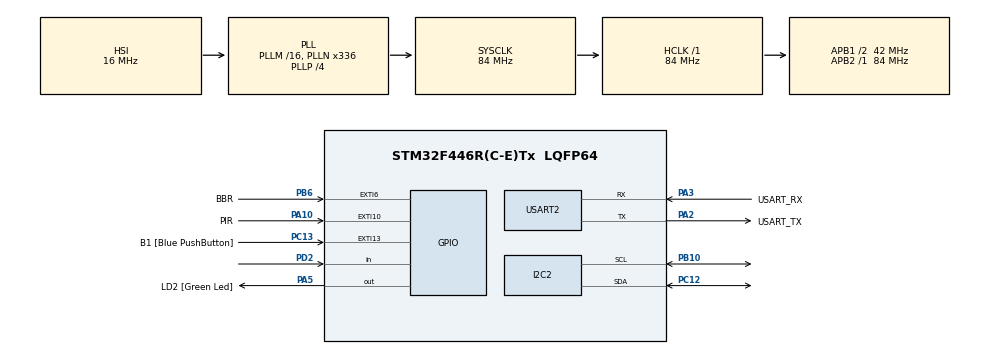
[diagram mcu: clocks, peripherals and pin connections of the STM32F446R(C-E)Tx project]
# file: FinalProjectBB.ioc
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FREERTOS.Tasks01=defaultTask,0,128,StartDefaultTask,Default,NULL,Dynamic,NULL,NULL
I2C2.I2C_Mode=I2C_Fast
Mcu.Family=STM32F4
Mcu.Name=STM32F446R(C-E)Tx
Mcu.Package=LQFP64
NVIC.EXTI15_10_IRQn=true\:5\:0\:false\:false\:true\:true\:true\:true\:true
NVIC.EXTI9_5_IRQn=true\:0\:0\:false\:false\:true\:false\:true\:true\:true
NVIC.PriorityGroup=NVIC_PRIORITYGROUP_4
NVIC.TIM6_DAC_IRQn=true\:15\:0\:false\:false\:true\:false\:false\:true\:true
NVIC.TimeBase=TIM6_DAC_IRQn
NVIC.TimeBaseIP=TIM6
PA10.GPIO_Label=PIR
PA10.Signal=GPXTI10
PA13.GPIO_Label=TMS
PA13.Mode=Serial_Wire
PA13.Signal=SYS_JTMS-SWDIO
PA14.GPIO_Label=TCK
PA14.Mode=Serial_Wire
PA14.Signal=SYS_JTCK-SWCLK
PA2.GPIO_Label=USART_TX
PA2.Mode=Asynchronous
PA2.Signal=USART2_TX
PA3.GPIO_Label=USART_RX
PA3.Mode=Asynchronous
PA3.Signal=USART2_RX
PA5.GPIO_Label=LD2 [Green Led]
PA5.Signal=GPIO_Output
PB10.Mode=I2C
PB10.Signal=I2C2_SCL
PB3.GPIO_Label=SWO
PB3.Signal=SYS_JTDO-SWO
PB6.GPIO_Label=BBR
PB6.Signal=GPXTI6
PC12.Mode=I2C
PC12.Signal=I2C2_SDA
PC13.GPIO_Label=B1 [Blue PushButton]
PC13.GPIO_ModeDefaultEXTI=GPIO_MODE_IT_FALLING
PC13.Signal=GPXTI13
PC14-OSC32_IN.Mode=LSE-External-Oscillator
PC14-OSC32_IN.Signal=RCC_OSC32_IN
PC15-OSC32_OUT.Mode=LSE-External-Oscillator
PC15-OSC32_OUT.Signal=RCC_OSC32_OUT
PD2.Signal=GPIO_Input
PH0-OSC_IN.Mode=HSE-External-Oscillator
PH0-OSC_IN.Signal=RCC_OSC_IN
PH1-OSC_OUT.Mode=HSE-External-Oscillator
PH1-OSC_OUT.Signal=RCC_OSC_OUT
ProjectManager.HeapSize=0x200
ProjectManager.StackSize=0x400
ProjectManager.TargetToolchain=STM32CubeIDE
RCC.48MHZClocksFreq_Value=84000000
RCC.AHBFreq_Value=84000000
RCC.APB1CLKDivider=RCC_HCLK_DIV2
RCC.APB1Freq_Value=42000000
RCC.APB1TimFreq_Value=84000000
RCC.APB2Freq_Value=84000000
RCC.APB2TimFreq_Value=84000000
RCC.CortexFreq_Value=84000000
RCC.FLatency-AdvancedSettings=FLASH_LATENCY_2
RCC.HCLKFreq_Value=84000000
RCC.HSE_VALUE=8000000
RCC.HSI_VALUE=16000000
RCC.PLLN=336
RCC.PLLP=RCC_PLLP_DIV4
RCC.SYSCLKFreq_VALUE=84000000
RCC.SYSCLKSource=RCC_SYSCLKSOURCE_PLLCLK
RCC.USBFreq_Value=168000000
RCC.VCOOutputFreq_Value=336000000
USART2.VirtualMode=VM_ASYNC
VP_FREERTOS_VS_CMSIS_V1.Mode=CMSIS_V1
VP_SYS_VS_tim6.Mode=TIM6
board=NUCLEO-F446RE

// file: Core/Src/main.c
/* USER CODE BEGIN Header */
/**
  ******************************************************************************
  * @file           : main.c
  * @brief          : Main program body
  ******************************************************************************
  * @attention
  *
  * Copyright (c) 2026 STMicroelectronics.
  * All rights reserved.
  *
  * This software is licensed under terms that can be found in the LICENSE file
  * in the root directory of this software component.
  * If no LICENSE file comes with this software, it is provided AS-IS.
  *
  ******************************************************************************
  */
/* USER CODE END Header */
#include "main.h"

#include "cmsis_os.h"

#include "ssd1306.h"

#include "ssd1306_fonts.h"

#include "stdio.h" // for sprintf

#include "FREERTOS.h"

#include "task.h"

#include "timers.h"

#include "queue.h"

#include "semphr.h"

#include "event_groups.h"

#include "string.h"

/* USER CODE BEGIN PTD */
typedef struct {
    int eventType;
    uint32_t timestamp;
} EventNotice;

/* USER CODE END PTD */

I2C_HandleTypeDef hi2c2;

UART_HandleTypeDef huart2;

osThreadId defaultTaskHandle;
/* USER CODE BEGIN PV */
SemaphoreHandle_t breakbeamSemaphore = NULL;
SemaphoreHandle_t pirSemaphore = NULL;
/* USER CODE END PV */

void SystemClock_Config(void);
static void MX_GPIO_Init(void);
static void MX_I2C2_Init(void);
static void MX_USART2_UART_Init(void);
void oledRefresh_task(void * argument);
void PIRSensor_task(void * argument);
void BBRSensor_task(void * argument);

/* USER CODE BEGIN PFP */
xTaskHandle BB_handler;
xTaskHandle PIR_handler;
xTaskHandle oledRefresh_handler;

xQueueHandle ST_Queue_handler;
/* USER CODE END PFP */

int main(void)
{

  /* MCU Configuration--------------------------------------------------------*/

  /* Reset of all peripherals, Initializes the Flash interface and the Systick. */
  HAL_Init();

  /* Configure the system clock */
  SystemClock_Config();

  /* Initialize all configured peripherals */
  MX_GPIO_Init();
  MX_I2C2_Init();
  MX_USART2_UART_Init();
  ssd1306_Init();
  /* USER CODE BEGIN 2 */
  ST_Queue_handler = xQueueCreate(20, sizeof(EventNotice));
  if(ST_Queue_handler == 0){
	  char *str = "Error 1:Unable to create Queue\r\n\n";
	  HAL_UART_Transmit(&huart2, (uint8_t *)str, strlen(str), HAL_MAX_DELAY);
  }
  else{
	  char *str = "Queue Created Successfully\r\n\n";
	  HAL_UART_Transmit(&huart2, (uint8_t *)str, strlen(str), HAL_MAX_DELAY);
  }

  /* USER CODE END 2 */

  /* USER CODE BEGIN RTOS_SEMAPHORES */
  pirSemaphore = xSemaphoreCreateBinary();
  breakbeamSemaphore = xSemaphoreCreateBinary();
  /* USER CODE END RTOS_SEMAPHORES */

  /* Create the thread(s) */
  /* definition and creation of defaultTask */
  xTaskCreate(oledRefresh_task, "OLEDRefresh", 256, NULL, 3, &oledRefresh_handler);
  xTaskCreate(BBRSensor_task, "BBRSensor", 256, NULL, 2, &BB_handler);
  xTaskCreate(PIRSensor_task, "PIRSensor", 256, NULL, 2, &PIR_handler);

  /* Start scheduler */
  vTaskStartScheduler();

  /* We should never get here as control is now taken by the scheduler */

  /* Infinite loop */
  while (1)
  {

  }
}

void SystemClock_Config(void)
{
  RCC_OscInitTypeDef RCC_OscInitStruct = {0};
  RCC_ClkInitTypeDef RCC_ClkInitStruct = {0};

  /** Configure the main internal regulator output voltage
  */
  __HAL_RCC_PWR_CLK_ENABLE();
  __HAL_PWR_VOLTAGESCALING_CONFIG(PWR_REGULATOR_VOLTAGE_SCALE3);

  /** Initializes the RCC Oscillators according to the specified parameters
  * in the RCC_OscInitTypeDef structure.
  */
  RCC_OscInitStruct.OscillatorType = RCC_OSCILLATORTYPE_HSI;
  RCC_OscInitStruct.HSIState = RCC_HSI_ON;
  RCC_OscInitStruct.HSICalibrationValue = RCC_HSICALIBRATION_DEFAULT;
  RCC_OscInitStruct.PLL.PLLState = RCC_PLL_ON;
  RCC_OscInitStruct.PLL.PLLSource = RCC_PLLSOURCE_HSI;
  RCC_OscInitStruct.PLL.PLLM = 16;
  RCC_OscInitStruct.PLL.PLLN = 336;
  RCC_OscInitStruct.PLL.PLLP = RCC_PLLP_DIV4;
  RCC_OscInitStruct.PLL.PLLQ = 2;
  RCC_OscInitStruct.PLL.PLLR = 2;
  if (HAL_RCC_OscConfig(&RCC_OscInitStruct) != HAL_OK)
  {
    Error_Handler();
  }

  /** Initializes the CPU, AHB and APB buses clocks
  */
  RCC_ClkInitStruct.ClockType = RCC_CLOCKTYPE_HCLK|RCC_CLOCKTYPE_SYSCLK
                              |RCC_CLOCKTYPE_PCLK1|RCC_CLOCKTYPE_PCLK2;
  RCC_ClkInitStruct.SYSCLKSource = RCC_SYSCLKSOURCE_PLLCLK;
  RCC_ClkInitStruct.AHBCLKDivider = RCC_SYSCLK_DIV1;
  RCC_ClkInitStruct.APB1CLKDivider = RCC_HCLK_DIV2;
  RCC_ClkInitStruct.APB2CLKDivider = RCC_HCLK_DIV1;

  if (HAL_RCC_ClockConfig(&RCC_ClkInitStruct, FLASH_LATENCY_2) != HAL_OK)
  {
    Error_Handler();
  }
}

static void MX_I2C2_Init(void)
{

  hi2c2.Instance = I2C2;
  hi2c2.Init.ClockSpeed = 400000;
  hi2c2.Init.DutyCycle = I2C_DUTYCYCLE_2;
  hi2c2.Init.OwnAddress1 = 0;
  hi2c2.Init.AddressingMode = I2C_ADDRESSINGMODE_7BIT;
  hi2c2.Init.DualAddressMode = I2C_DUALADDRESS_DISABLE;
  hi2c2.Init.OwnAddress2 = 0;
  hi2c2.Init.GeneralCallMode = I2C_GENERALCALL_DISABLE;
  hi2c2.Init.NoStretchMode = I2C_NOSTRETCH_DISABLE;
  if (HAL_I2C_Init(&hi2c2) != HAL_OK)
  {
    Error_Handler();
  }

}

static void MX_USART2_UART_Init(void)
{

  huart2.Instance = USART2;
  huart2.Init.BaudRate = 115200;
  huart2.Init.WordLength = UART_WORDLENGTH_8B;
  huart2.Init.StopBits = UART_STOPBITS_1;
  huart2.Init.Parity = UART_PARITY_NONE;
  huart2.Init.Mode = UART_MODE_TX_RX;
  huart2.Init.HwFlowCtl = UART_HWCONTROL_NONE;
  huart2.Init.OverSampling = UART_OVERSAMPLING_16;
  if (HAL_UART_Init(&huart2) != HAL_OK)
  {
    Error_Handler();
  }

}

static void MX_GPIO_Init(void)
{
  GPIO_InitTypeDef GPIO_InitStruct = {0};

  /* GPIO Ports Clock Enable */
  __HAL_RCC_GPIOC_CLK_ENABLE();
  __HAL_RCC_GPIOH_CLK_ENABLE();
  __HAL_RCC_GPIOA_CLK_ENABLE();
  __HAL_RCC_GPIOB_CLK_ENABLE();
  __HAL_RCC_GPIOD_CLK_ENABLE();

  /*Configure GPIO pin Output Level */
  HAL_GPIO_WritePin(LD2_GPIO_Port, LD2_Pin, GPIO_PIN_RESET);

  /*Configure GPIO pin : B1_Pin */
  GPIO_InitStruct.Pin = B1_Pin;
  GPIO_InitStruct.Mode = GPIO_MODE_IT_FALLING;
  GPIO_InitStruct.Pull = GPIO_NOPULL;
  HAL_GPIO_Init(B1_GPIO_Port, &GPIO_InitStruct);

  /*Configure GPIO pin : LD2_Pin */
  GPIO_InitStruct.Pin = LD2_Pin;
  GPIO_InitStruct.Mode = GPIO_MODE_OUTPUT_PP;
  GPIO_InitStruct.Pull = GPIO_NOPULL;
  GPIO_InitStruct.Speed = GPIO_SPEED_FREQ_LOW;
  HAL_GPIO_Init(LD2_GPIO_Port, &GPIO_InitStruct);

  /*Configure GPIO pin : PIR_Pin */
  GPIO_InitStruct.Pin = PIR_Pin;
  GPIO_InitStruct.Mode = GPIO_MODE_IT_FALLING;
  GPIO_InitStruct.Pull = GPIO_NOPULL;
  HAL_GPIO_Init(PIR_GPIO_Port, &GPIO_InitStruct);

  /*Configure GPIO pin : PD2 */
  GPIO_InitStruct.Pin = GPIO_PIN_2;
  GPIO_InitStruct.Mode = GPIO_MODE_INPUT;
  GPIO_InitStruct.Pull = GPIO_NOPULL;
  HAL_GPIO_Init(GPIOD, &GPIO_InitStruct);

  /*Configure GPIO pin : BBR_Pin */
  GPIO_InitStruct.Pin = BBR_Pin;
  GPIO_InitStruct.Mode = GPIO_MODE_IT_RISING;
  GPIO_InitStruct.Pull = GPIO_PULLUP;
  HAL_GPIO_Init(BBR_GPIO_Port, &GPIO_InitStruct);

  /* EXTI interrupt init*/
  HAL_NVIC_SetPriority(EXTI9_5_IRQn, 5, 0);
  HAL_NVIC_EnableIRQ(EXTI9_5_IRQn);

  HAL_NVIC_SetPriority(EXTI15_10_IRQn, 5, 0);
  HAL_NVIC_EnableIRQ(EXTI15_10_IRQn);

}

/* USER CODE BEGIN 4 */

void HAL_GPIO_EXTI_Callback(uint16_t GPIO_Pin)
{
    BaseType_t xHigherPriorityTaskWoken = pdFALSE;

    // 1. PIR(PA0)
    if (GPIO_Pin == GPIO_PIN_10)
    {
        xSemaphoreGiveFromISR(pirSemaphore, &xHigherPriorityTaskWoken);
    }

    //Breakbeam(PB6)
    if (GPIO_Pin == GPIO_PIN_6)
    {
        xSemaphoreGiveFromISR(breakbeamSemaphore, &xHigherPriorityTaskWoken);
    }

    // Force a context switch if waking a higher priority task
    portYIELD_FROM_ISR(xHigherPriorityTaskWoken);
}
/* USER CODE END 4 */

void PIRSensor_task(void  * argument){
	    EventNotice msg;
	    msg.eventType = 2;

	    // WARM-UP PHASE: Wait 60 seconds for the PIR to stabilize
	    // This prevents false alarms when the STM32 boots up.

	    // Clear any junk semaphores that accumulated during warmup
	    xSemaphoreTake(pirSemaphore, 0);

	    for(;;)
	    {
	        // Task sleeps here forever until the EXTI callback gives the semaphore
	        if(xSemaphoreTake(pirSemaphore, portMAX_DELAY) == pdTRUE)
	        {
	            // Get the time it happened
	            msg.timestamp = HAL_GetTick();

	            // Send the event to the Controller Task Queue (Don't wait if full)
	            xQueueSend(ST_Queue_handler, &msg, 0);
	        }
	    }
	}

void BBRSensor_task(void  * argument){
	EventNotice msg;
	msg.eventType = 1;

	for(;;)
	{
	        // Task sleeps here forever until the beam is broken
	        if(xSemaphoreTake(breakbeamSemaphore, portMAX_DELAY) == pdTRUE)
	        {
	            msg.timestamp = HAL_GetTick();
	            xQueueSend(ST_Queue_handler, &msg, 0);
	        }
	    }
	}

void oledRefresh_task(void * argument){
    char uartbuf[128];

    /* --- THE BOOT SCREEN (Runs once before the loop) --- */
    ssd1306_Fill(Black);
    ssd1306_SetCursor(10, 10);
    ssd1306_WriteString("System Armed...", Font_7x10, White);
    ssd1306_UpdateScreen();
    /* --------------------------------------------------- */

    while(1){
        // Print debug to UART so you know the task is alive
        char *str = "OLED Task waiting for queue...\r\n";
        HAL_UART_Transmit(&huart2, (uint8_t *)str, strlen(str), HAL_MAX_DELAY);

        EventNotice receivedData;

        // Wait exactly 3000ms. If no data, it returns pdFAIL and triggers the 'else'
        if(xQueueReceive(ST_Queue_handler, &receivedData, pdMS_TO_TICKS(3000)) == pdPASS){

            ssd1306_Fill(Black); // Clear previous text

            switch(receivedData.eventType){
            case 1:
                ssd1306_SetCursor(10, 10);
                ssd1306_WriteString("Sensor Broken!", Font_7x10, White);
                snprintf(uartbuf,sizeof(uartbuf),"Success! BBR Triggered\r\n");
                break;
            case 2:
                ssd1306_SetCursor(10, 30);
                ssd1306_WriteString("Person Detected!", Font_7x10, White);
                snprintf(uartbuf,sizeof(uartbuf),"Success! PIR Triggered\r\n");
                break;
            }
            ssd1306_UpdateScreen();
            HAL_UART_Transmit(&huart2, (uint8_t *)uartbuf, strlen(uartbuf), HAL_MAX_DELAY);
        }
        else
        {
            // TIMEOUT: No events happened in 3 seconds. Return to default state.
            ssd1306_Fill(Black);
            ssd1306_SetCursor(10, 10);
            ssd1306_WriteString("System Armed...", Font_7x10, White);
            ssd1306_UpdateScreen();
        }
    }
}
void HAL_TIM_PeriodElapsedCallback(TIM_HandleTypeDef *htim)
{
  if (htim->Instance == TIM6)
  {
    HAL_IncTick();
  }
}

void Error_Handler(void)
{
  __disable_irq();
  while (1)
  {
  }
}
